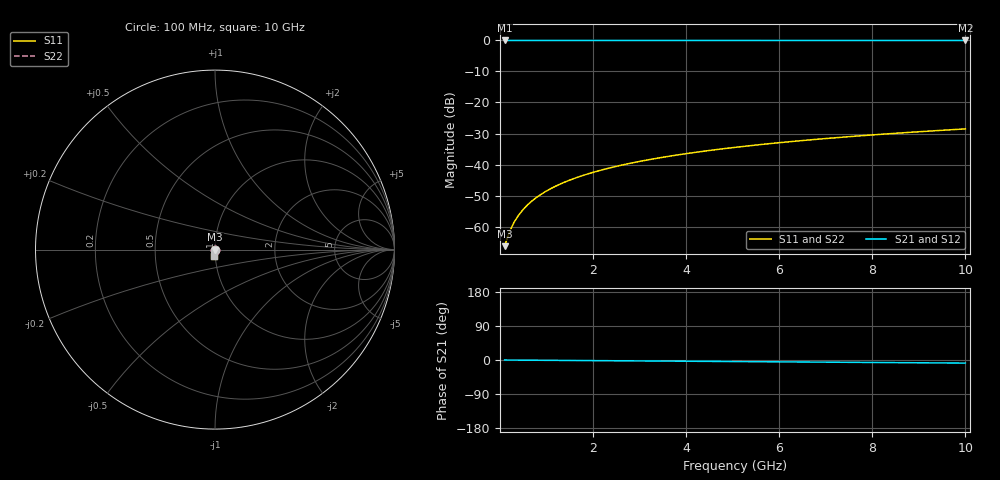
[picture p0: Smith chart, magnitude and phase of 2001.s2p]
# Hz S RI R 50.00
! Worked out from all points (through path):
!   100 points, 100 MHz to 10 GHz, reference 50 ohm
!   highest |S21| = 0.00 dB at 100 MHz (marker M1); lowest = 0.0 dB at 10 GHz (marker M2)
!   group delay of S21, straight-line fit = 2.26 ps
!   lowest |S11| = -66.3 dB at 100 MHz (marker M3), VSWR 1.00, Z = 50 - j0.0374 ohm
!   |S11| at or under -10 dB: start of sweep to end of sweep
!   |S22| runs from -66.3 to -28.5 dB; largest |S21 - S12| = 0
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1e8  0.000306 -0.000374  0.9997 -0.00141  0.9997 -0.00141  0.000306 -0.000374
2e8  0.000306 -0.000747  0.9997 -0.00282  0.9997 -0.00282  0.000306 -0.000747
3e8  0.000304 -0.00112  0.9997 -0.00424  0.9997 -0.00424  0.000304 -0.00112
4e8  0.0003 -0.00149  0.9997 -0.00565  0.9997 -0.00565  0.0003 -0.00149
5e8  0.000296 -0.00187  0.9997 -0.00706  0.9997 -0.00706  0.000296 -0.00187
6e8  0.00029 -0.00224  0.9996 -0.00848  0.9996 -0.00848  0.00029 -0.00224
7e8  0.000283 -0.00262  0.9996 -0.00989  0.9996 -0.00989  0.000283 -0.00262
8e8  0.000275 -0.00299  0.9996 -0.0113  0.9996 -0.0113  0.000275 -0.00299
9e8  0.000266 -0.00336  0.9996 -0.0127  0.9996 -0.0127  0.000266 -0.00336
1.1e9  0.000245 -0.00411  0.9995 -0.0155  0.9995 -0.0155  0.000245 -0.00411
1.4e9  0.000205 -0.00523  0.9995 -0.0198  0.9995 -0.0198  0.000205 -0.00523
1.8e9  0.000136 -0.00673  0.9993 -0.0254  0.9993 -0.0254  0.000136 -0.00673
2.1e9  7.31e-05 -0.00785  0.9992 -0.0297  0.9992 -0.0297  7.31e-05 -0.00785
2.5e9  -2.57e-05 -0.00934  0.999 -0.0353  0.999 -0.0353  -2.57e-05 -0.00934
2.9e9  -0.000142 -0.0108  0.9987 -0.041  0.9987 -0.041  -0.000142 -0.0108
3.4e9  -0.000311 -0.0127  0.9984 -0.0481  0.9984 -0.0481  -0.000311 -0.0127
4.2e9  -0.000636 -0.0157  0.9977 -0.0594  0.9977 -0.0594  -0.000636 -0.0157
5.1e9  -0.00108 -0.0191  0.9968 -0.0721  0.9968 -0.0721  -0.00108 -0.0191
5.9e9  -0.00156 -0.022  0.9959 -0.0834  0.9959 -0.0834  -0.00156 -0.022
6.7e9  -0.0021 -0.025  0.9948 -0.0948  0.9948 -0.0948  -0.0021 -0.025
8.4e9  -0.00347 -0.0313  0.992 -0.1188  0.992 -0.1188  -0.00347 -0.0313
1e10  -0.00504 -0.0372  0.9888 -0.1414  0.9888 -0.1414  -0.00504 -0.0372
